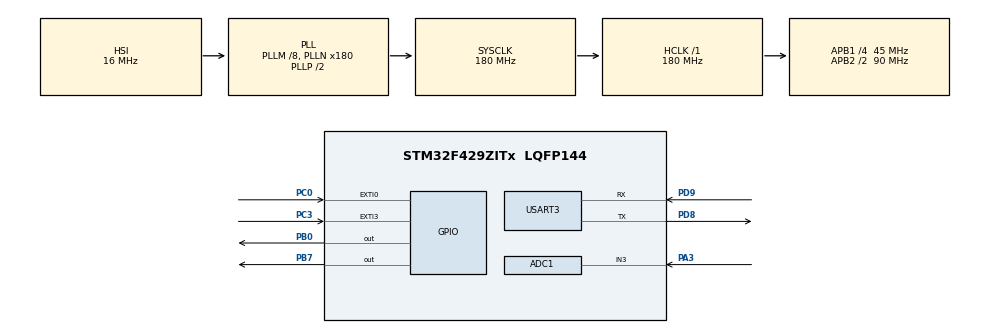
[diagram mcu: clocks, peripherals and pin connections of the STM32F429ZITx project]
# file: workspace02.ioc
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ADC1.Channel-1\#ChannelRegularConversion=ADC_CHANNEL_3
ADC1.NbrOfConversionFlag=1
ADC1.Rank-1\#ChannelRegularConversion=1
ADC1.SamplingTime-1\#ChannelRegularConversion=ADC_SAMPLETIME_3CYCLES
ADC1.master=1
Mcu.Family=STM32F4
Mcu.Name=STM32F429ZITx
Mcu.Package=LQFP144
NVIC.ADC_IRQn=true\:0\:0\:false\:true\:true\:2\:true\:true\:true
NVIC.EXTI0_IRQn=true\:0\:0\:false\:true\:true\:4\:true\:true\:true
NVIC.EXTI3_IRQn=true\:0\:0\:false\:true\:true\:3\:true\:true\:true
NVIC.PriorityGroup=NVIC_PRIORITYGROUP_4
NVIC.USART3_IRQn=true\:0\:0\:false\:true\:true\:1\:true\:true\:true
PA13.Mode=Serial_Wire
PA13.Signal=SYS_JTMS-SWDIO
PA14.Mode=Serial_Wire
PA14.Signal=SYS_JTCK-SWCLK
PA3.Signal=ADCx_IN3
PB0.Signal=GPIO_Output
PB7.Signal=GPIO_Output
PC0.Signal=GPXTI0
PC14/OSC32_IN.Mode=LSE-External-Oscillator
PC14/OSC32_IN.Signal=RCC_OSC32_IN
PC15/OSC32_OUT.Mode=LSE-External-Oscillator
PC15/OSC32_OUT.Signal=RCC_OSC32_OUT
PC3.Signal=GPXTI3
PD8.Mode=Asynchronous
PD8.Signal=USART3_TX
PD9.Mode=Asynchronous
PD9.Signal=USART3_RX
ProjectManager.HeapSize=0x200
ProjectManager.StackSize=0x400
ProjectManager.TargetToolchain=STM32CubeIDE
RCC.48MHZClocksFreq_Value=90000000
RCC.AHBFreq_Value=180000000
RCC.APB1CLKDivider=RCC_HCLK_DIV4
RCC.APB1Freq_Value=45000000
RCC.APB1TimFreq_Value=90000000
RCC.APB2CLKDivider=RCC_HCLK_DIV2
RCC.APB2Freq_Value=90000000
RCC.APB2TimFreq_Value=180000000
RCC.CortexFreq_Value=180000000
RCC.HCLKFreq_Value=180000000
RCC.HSE_VALUE=25000000
RCC.HSI_VALUE=16000000
RCC.PLLM=8
RCC.PLLN=180
RCC.RCC_RTC_Clock_Source=RCC_RTCCLKSOURCE_LSE
RCC.SYSCLKFreq_VALUE=180000000
RCC.SYSCLKSource=RCC_SYSCLKSOURCE_PLLCLK
RCC.VCOOutputFreq_Value=360000000
SH.ADCx_IN3.0=ADC1_IN3,IN3
USART3.VirtualMode=VM_ASYNC
VP_RTC_VS_RTC_Activate.Mode=RTC_Enabled
board=custom

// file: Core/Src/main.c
/* USER CODE BEGIN Header */
/**
  ******************************************************************************
  * @file           : main.c
  * @brief          : Main program body
  ******************************************************************************
  * @attention
  *
  * Copyright (c) 2022 STMicroelectronics.
  * All rights reserved.
  *
  * This software is licensed under terms that can be found in the LICENSE file
  * in the root directory of this software component.
  * If no LICENSE file comes with this software, it is provided AS-IS.
  *
  ******************************************************************************
  */
/* USER CODE END Header */
#include "main.h"
#include "adc.h"
#include "rtc.h"
#include "usart.h"
#include "gpio.h"

/* USER CODE BEGIN Includes */
#include <stdio.h>
#include <string.h>

/* USER CODE END Includes */

/* USER CODE BEGIN PD */
#define NOISE 224
/* USER CODE END PD */

void SystemClock_Config(void);
static void MX_NVIC_Init(void);
/* USER CODE BEGIN PFP */
int __io_putchar(int ch);
void HAL_UART_RxCpltCallback(UART_HandleTypeDef *huart);
void HAL_GPIO_EXTI_Callback(uint16_t GPIO_Pin);
void HAL_ADC_ConvCpltCallback(ADC_HandleTypeDef* hadc);
void Transmit_ADC_value_now();
/* USER CODE END PFP */

/* USER CODE BEGIN 0 */

// --------------------- ADC ------------------
int ADC_value = 0;
int current_time_pin0 = 0;
int time_interval_pin0 = 0;
int last_time_pin0 = 0;
int time_interval_pin3 = 0;
int last_time_pin3 = 0;
int current_time_pin3 = 0;
// --------------------------------------------

// -------------------- UART ------------------
char tx_buf[20];
char rx_buf[20];
int bufindex = 0;
uint8_t rx;
// --------------------------------------------

int flag = 0;
/* USER CODE END 0 */

int main(void)
{

  /* MCU Configuration--------------------------------------------------------*/

  /* Reset of all peripherals, Initializes the Flash interface and the Systick. */
  HAL_Init();

  /* Configure the system clock */
  SystemClock_Config();

  /* Initialize all configured peripherals */
  MX_GPIO_Init();
  MX_ADC1_Init();
  MX_RTC_Init();
  MX_USART3_UART_Init();

  /* Initialize interrupts */
  MX_NVIC_Init();
  /* USER CODE BEGIN 2 */
  memset(rx_buf, 0, sizeof(rx_buf));
  memset(tx_buf, 0, sizeof(tx_buf));
  HAL_UART_Receive_IT(&huart3, &rx, 1);
  HAL_ADC_Start_IT(&hadc1);
  /* USER CODE END 2 */

  /* Infinite loop */
  /* USER CODE BEGIN WHILE */
  while (1)
  {
	  if(flag == 1){
		  memset(rx_buf, 0, sizeof(rx_buf));
		  Transmit_ADC_value_now();
		  flag = 0;
		  HAL_UART_Receive_IT(&huart3, &rx, 1);
	  }
    /* USER CODE END WHILE */

  }
}

void SystemClock_Config(void)
{
  RCC_OscInitTypeDef RCC_OscInitStruct = {0};
  RCC_ClkInitTypeDef RCC_ClkInitStruct = {0};

  /** Configure the main internal regulator output voltage
  */
  __HAL_RCC_PWR_CLK_ENABLE();
  __HAL_PWR_VOLTAGESCALING_CONFIG(PWR_REGULATOR_VOLTAGE_SCALE1);

  /** Initializes the RCC Oscillators according to the specified parameters
  * in the RCC_OscInitTypeDef structure.
  */
  RCC_OscInitStruct.OscillatorType = RCC_OSCILLATORTYPE_HSI|RCC_OSCILLATORTYPE_LSE;
  RCC_OscInitStruct.LSEState = RCC_LSE_ON;
  RCC_OscInitStruct.HSIState = RCC_HSI_ON;
  RCC_OscInitStruct.HSICalibrationValue = RCC_HSICALIBRATION_DEFAULT;
  RCC_OscInitStruct.PLL.PLLState = RCC_PLL_ON;
  RCC_OscInitStruct.PLL.PLLSource = RCC_PLLSOURCE_HSI;
  RCC_OscInitStruct.PLL.PLLM = 8;
  RCC_OscInitStruct.PLL.PLLN = 180;
  RCC_OscInitStruct.PLL.PLLP = RCC_PLLP_DIV2;
  RCC_OscInitStruct.PLL.PLLQ = 4;
  if (HAL_RCC_OscConfig(&RCC_OscInitStruct) != HAL_OK)
  {
    Error_Handler();
  }

  /** Activate the Over-Drive mode
  */
  if (HAL_PWREx_EnableOverDrive() != HAL_OK)
  {
    Error_Handler();
  }

  /** Initializes the CPU, AHB and APB buses clocks
  */
  RCC_ClkInitStruct.ClockType = RCC_CLOCKTYPE_HCLK|RCC_CLOCKTYPE_SYSCLK
                              |RCC_CLOCKTYPE_PCLK1|RCC_CLOCKTYPE_PCLK2;
  RCC_ClkInitStruct.SYSCLKSource = RCC_SYSCLKSOURCE_PLLCLK;
  RCC_ClkInitStruct.AHBCLKDivider = RCC_SYSCLK_DIV1;
  RCC_ClkInitStruct.APB1CLKDivider = RCC_HCLK_DIV4;
  RCC_ClkInitStruct.APB2CLKDivider = RCC_HCLK_DIV2;

  if (HAL_RCC_ClockConfig(&RCC_ClkInitStruct, FLASH_LATENCY_5) != HAL_OK)
  {
    Error_Handler();
  }
}

/**
  * @brief NVIC Configuration.
  * @retval None
  */
static void MX_NVIC_Init(void)
{
  /* USART3_IRQn interrupt configuration */
  HAL_NVIC_SetPriority(USART3_IRQn, 0, 0);
  HAL_NVIC_EnableIRQ(USART3_IRQn);
  /* ADC_IRQn interrupt configuration */
  HAL_NVIC_SetPriority(ADC_IRQn, 0, 0);
  HAL_NVIC_EnableIRQ(ADC_IRQn);
  /* EXTI3_IRQn interrupt configuration */
  HAL_NVIC_SetPriority(EXTI3_IRQn, 0, 0);
  HAL_NVIC_EnableIRQ(EXTI3_IRQn);
  /* EXTI0_IRQn interrupt configuration */
  HAL_NVIC_SetPriority(EXTI0_IRQn, 0, 0);
  HAL_NVIC_EnableIRQ(EXTI0_IRQn);
}

/* USER CODE BEGIN 4 */
void Transmit_ADC_value_now()
{
	HAL_ADC_Start_IT(&hadc1);
	sprintf(tx_buf, "Now%04d>", ADC_value);

	for(int i = 0 ; i < sizeof(tx_buf); i++)
	{
		HAL_UART_Transmit(&huart3, (uint8_t*) tx_buf+i, 1, 10);
		HAL_Delay(5);
	}

	memset(tx_buf, 0, sizeof(tx_buf));
}

void HAL_ADC_ConvCpltCallback(ADC_HandleTypeDef* hadc)
{
	if(hadc->Instance == ADC1)
	{
		ADC_value = HAL_ADC_GetValue(&hadc1);
	}
}
void HAL_GPIO_EXTI_Callback(uint16_t GPIO_Pin) {
	if (GPIO_Pin == GPIO_PIN_0) {
		current_time_pin0 = HAL_GetTick();
		time_interval_pin0 = current_time_pin0 - last_time_pin0;
		last_time_pin0 = current_time_pin0;

		if (time_interval_pin0 <= NOISE) {
		} else {
			HAL_ADC_Start_IT(&hadc1);
			sprintf(tx_buf, "B1%04d>", ADC_value);
			HAL_UART_Transmit(&huart3, (uint8_t*) tx_buf, sizeof(tx_buf), 10);
		}
	}
	if (GPIO_Pin == GPIO_PIN_3) {
		current_time_pin3 = HAL_GetTick();
		time_interval_pin3 = current_time_pin3 - last_time_pin3;
		last_time_pin3 = current_time_pin3;

		if (time_interval_pin3 <= NOISE) {
		} else {
			HAL_ADC_Start_IT(&hadc1);
			sprintf(tx_buf, "B2%04d>", ADC_value);
			HAL_UART_Transmit(&huart3, (uint8_t*) tx_buf, sizeof(tx_buf), 10);
		}
	}
}

void HAL_UART_RxCpltCallback(UART_HandleTypeDef *huart) {
	if (huart->Instance == USART3) {
		if ((rx == '\n') && (rx_buf[bufindex - 1] == '>') && (rx_buf[0] == '<')) {
			rx_buf[bufindex] = 0;
			char *p;
			if ((p = strstr((char*) rx_buf, "ReturnToValue")) != 0) {
				bufindex = 0;
				flag = 1;
			}
		}
		else if (bufindex < 20) {
			rx_buf[bufindex++] = rx;
			HAL_UART_Receive_IT(&huart3, &rx, 1);
		}
	}
}
int __io_putchar(int ch) {
	HAL_UART_Transmit(&huart3, (uint8_t*)&ch, 1, 10);
	return ch;
}
/* USER CODE END 4 */

void Error_Handler(void)
{
  __disable_irq();
  while (1)
  {
  }
}
